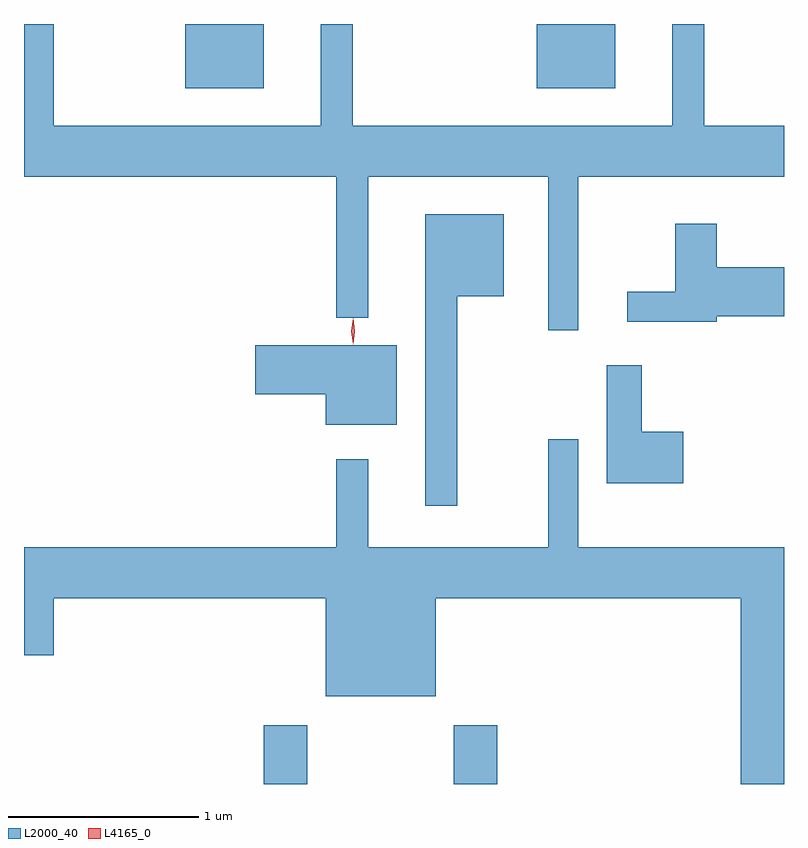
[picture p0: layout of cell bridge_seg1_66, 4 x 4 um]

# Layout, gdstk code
import gdstk
lib = gdstk.Library(unit=1e-6, precision=1e-09)
def R(c, l, rs):  # rectangles x0, y0, x1, y1
    for r in rs: c.add(gdstk.rectangle(r[:2], r[2:], *l))
def P(c, l, *ps):  # polygons
    for p in ps: c.add(gdstk.Polygon(p, *l))
L2000_40 = (2000, 40)
L4165_0 = (4165, 0)

bridge_seg1_66 = lib.new_cell('bridge_seg1_66')
R(bridge_seg1_66, L2000_40, [(1904.761,840.879,1904.989,841.189), (1905.761,840.879,1905.989,841.189), (1904.346,844.541,1904.759,844.879), (1906.196,844.541,1906.609,844.879)])
P(bridge_seg1_66, L2000_40, [(1906.414,844.076),(1907.498,844.076),(1907.498,844.344),(1907.079,844.344),(1907.079,844.879),(1906.911,844.879),(1906.911,844.344),(1905.229,844.344),(1905.229,844.879),(1905.061,844.879),(1905.061,844.344),(1903.654,844.344),(1903.654,844.879),(1903.498,844.879),(1903.498,844.076),(1905.141,844.076),(1905.141,843.333),(1905.309,843.333),(1905.309,844.076),(1906.256,844.076),(1906.256,843.268),(1906.414,843.268)],
  [(1905.779,843.446),(1906.024,843.446),(1906.024,843.879),(1905.611,843.879),(1905.611,842.343),(1905.779,842.343)],
  [(1907.144,843.341),(1907.498,843.341),(1907.498,843.599),(1907.144,843.599),(1907.144,843.829),(1906.926,843.829),(1906.926,843.469),(1906.673,843.469),(1906.673,843.311),(1907.144,843.311)],
  [(1905.459,843.189),(1904.716,843.189),(1904.716,842.931),(1905.086,842.931),(1905.086,842.771),(1905.459,842.771)],
  [(1906.969,842.734),(1906.749,842.734),(1906.749,843.084),(1906.566,843.084),(1906.566,842.461),(1906.969,842.461)],
  [(1907.498,842.124),(1906.414,842.124),(1906.414,842.693),(1906.256,842.693),(1906.256,842.124),(1905.309,842.124),(1905.309,842.588),(1905.141,842.588),(1905.141,842.124),(1903.498,842.124),(1903.498,841.556),(1903.654,841.556),(1903.654,841.856),(1905.086,841.856),(1905.086,841.341),(1905.664,841.341),(1905.664,841.856),(1907.271,841.856),(1907.271,840.879),(1907.498,840.879)])
P(bridge_seg1_66, L4165_0, [(1905.23,843.194),(1905.22,843.262),(1905.23,843.33),(1905.23,843.33),(1905.23,843.33),(1905.24,843.262),(1905.231,843.194),(1905.231,843.194)],
  [(1905.231,843.2),(1905.231,843.201),(1905.221,843.263),(1905.23,843.326),(1905.23,843.327),(1905.23,843.326),(1905.24,843.264),(1905.232,843.201)])

lib.write_gds('bridge_seg1_66.gds')
